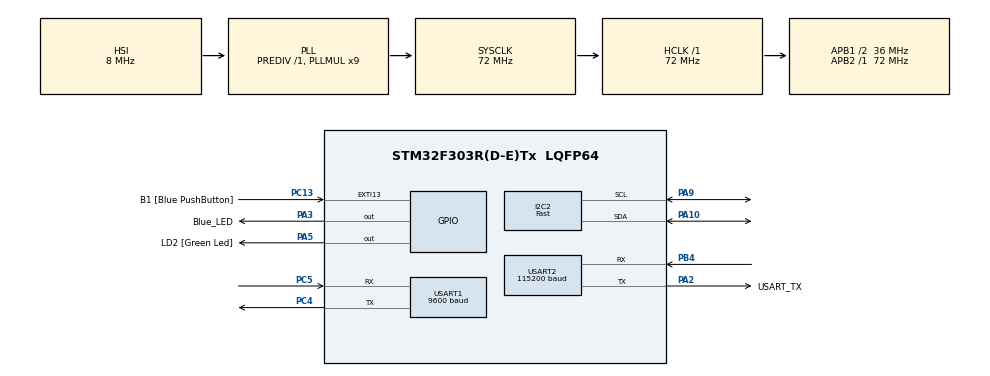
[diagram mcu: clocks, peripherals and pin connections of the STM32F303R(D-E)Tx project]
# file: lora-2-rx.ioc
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I2C2.I2C_Speed_Mode=I2C_Fast
I2C2.Timing=0x0010020A
Mcu.Family=STM32F3
Mcu.Name=STM32F303R(D-E)Tx
Mcu.Package=LQFP64
NVIC.PriorityGroup=NVIC_PRIORITYGROUP_4
NVIC.USART2_IRQn=true\:0\:0\:false\:false\:true\:true\:true\:true
PA10.Mode=I2C
PA10.Signal=I2C2_SDA
PA13.GPIO_Label=TMS
PA13.Mode=Trace_Asynchronous_SW
PA13.Signal=SYS_JTMS-SWDIO
PA14.GPIO_Label=TCK
PA14.Mode=Trace_Asynchronous_SW
PA14.Signal=SYS_JTCK-SWCLK
PA2.GPIO_Label=USART_TX
PA2.GPIO_Mode=GPIO_MODE_AF_PP
PA2.GPIO_PuPd=GPIO_NOPULL
PA2.GPIO_Speed=GPIO_SPEED_FREQ_LOW
PA2.Mode=Asynchronous
PA2.Signal=USART2_TX
PA3.GPIO_Label=Blue_LED
PA3.Signal=GPIO_Output
PA5.GPIO_Label=LD2 [Green Led]
PA5.GPIO_Mode=GPIO_MODE_OUTPUT_PP
PA5.GPIO_PuPd=GPIO_NOPULL
PA5.GPIO_Speed=GPIO_SPEED_FREQ_LOW
PA5.Signal=GPIO_Output
PA9.Mode=I2C
PA9.Signal=I2C2_SCL
PB3.GPIO_Label=SWO
PB3.Mode=Trace_Asynchronous_SW
PB3.Signal=SYS_JTDO-TRACESWO
PB4.Mode=Asynchronous
PB4.Signal=USART2_RX
PC13.GPIO_Label=B1 [Blue PushButton]
PC13.GPIO_ModeDefaultEXTI=GPIO_MODE_IT_FALLING
PC13.Signal=GPXTI13
PC14-OSC32_IN.Mode=LSE-External-Oscillator
PC14-OSC32_IN.Signal=RCC_OSC32_IN
PC15-OSC32_OUT.Mode=LSE-External-Oscillator
PC15-OSC32_OUT.Signal=RCC_OSC32_OUT
PC4.Mode=Asynchronous
PC4.Signal=USART1_TX
PC5.Mode=Asynchronous
PC5.Signal=USART1_RX
PF0-OSC_IN.Mode=HSE-External-Clock-Source
PF0-OSC_IN.Signal=RCC_OSC_IN
PF1-OSC_OUT.Signal=RCC_OSC_OUT
ProjectManager.HeapSize=0x200
ProjectManager.StackSize=0x400
ProjectManager.TargetToolchain=STM32CubeIDE
RCC.AHBFreq_Value=72000000
RCC.APB1CLKDivider=RCC_HCLK_DIV2
RCC.APB1Freq_Value=36000000
RCC.APB1TimFreq_Value=72000000
RCC.APB2Freq_Value=72000000
RCC.APB2TimFreq_Value=72000000
RCC.CortexFreq_Value=72000000
RCC.HCLKFreq_Value=72000000
RCC.HSE_VALUE=8000000
RCC.HSI_VALUE=8000000
RCC.PLLM=8
RCC.PLLMUL=RCC_PLL_MUL9
RCC.PLLN=336
RCC.PLLP=RCC_PLLP_DIV4
RCC.PLLQ=7
RCC.RCC_PLLsource_Clock_Source_FROM_HSE=RCC_HSE_PREDIV_DIV2
RCC.SYSCLKFreq_VALUE=72000000
RCC.SYSCLKSourceVirtual=RCC_SYSCLKSOURCE_PLLCLK
RCC.USBFreq_Value=72000000
USART1.BaudRate=9600
USART1.VirtualMode-Asynchronous=VM_ASYNC
USART2.BaudRate=115200
USART2.VirtualMode-Asynchronous=VM_ASYNC
board=NUCLEO-F303RE

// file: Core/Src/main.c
/* USER CODE BEGIN Header */
/**
  ******************************************************************************
  * @file           : main.c
  * @brief          : LoRa Receiver for STM32F303 (example)
  ******************************************************************************
  * @attention
  * This code listens for:
  *   [AddrHigh] [AddrLow] [Channel] [Payload bytes...] [RSSI]
  * The final byte is the auto-appended RSSI by the LoRa module.
  *
  * We read the first 3 bytes for (Addr,Addr,Channel).
  * Then we read payload until a short timeout.
  * The last byte we read is considered RSSI.
  ******************************************************************************
  */
/* USER CODE END Header */

#include "main.h"
#include <string.h>
#include <stdio.h>
#include <errno.h>
#include "SH1106.h"
#include "fonts.h"

/* USER CODE BEGIN PV */
#define MAX_PAYLOAD_LEN  64   // Adjust as needed
uint8_t rxTemp;               // For receiving one byte at a time
uint8_t rxBuffer[MAX_PAYLOAD_LEN+1];
// We'll store the payload in rxBuffer, then interpret last as RSSI.
/* USER CODE END PV */

I2C_HandleTypeDef hi2c2;
UART_HandleTypeDef huart1; // LoRa module connected here
UART_HandleTypeDef huart2; // Debug prints via printf

void SystemClock_Config(void);
static void MX_GPIO_Init(void);
static void MX_I2C2_Init(void);
static void MX_USART1_UART_Init(void);
static void MX_USART2_UART_Init(void);

/* USER CODE BEGIN 0 */
/**
  * Simple retarget of printf to huart2 for debug logs.
  */
int _write(int file, char *ptr, int len)
{
  if (file == 1 || file == 2) // stdout or stderr
  {
    HAL_StatusTypeDef status;
    status = HAL_UART_Transmit(&huart2, (uint8_t*)ptr, len, HAL_MAX_DELAY);
    return (status == HAL_OK) ? len : EIO;
  }
  errno = EBADF;
  return -1;
}

/**
  * @brief  Receives one "packet" of data from the LoRa module:
  *         [AddrHi][AddrLo][Channel][Payload...][RSSI].
  *         Returns 1 if a packet was successfully read, 0 if no data was received.
  */
int ReceiveLoRaPacket(void)
{
  // 1) Read 3 bytes for address + channel, each with e.g. 1000ms timeout
  if (HAL_UART_Receive(&huart1, &rxTemp, 1, 1000) != HAL_OK) return 0;
  uint8_t addrHi = rxTemp;

  if (HAL_UART_Receive(&huart1, &rxTemp, 1, 100) != HAL_OK) return 0;
  uint8_t addrLo = rxTemp;

  if (HAL_UART_Receive(&huart1, &rxTemp, 1, 100) != HAL_OK) return 0;
  uint8_t channel = rxTemp;

  // 2) Now read payload bytes until we time out. The last byte is the RSSI.
  //    We'll store all in rxBuffer. We'll keep reading until a short gap (e.g. 50ms).
  //    The typical pattern is: the LoRa module will quickly push all payload plus 1 RSSI byte.
  //    We'll assume the final byte we read is the RSSI.

  uint16_t payloadLen = 0;
  while (1)
  {
    // Attempt to read 1 more byte with short timeout
    if (HAL_UART_Receive(&huart1, &rxTemp, 1, 30) == HAL_OK)
    {
      // We read a new byte
      if (payloadLen < MAX_PAYLOAD_LEN)
      {
        rxBuffer[payloadLen++] = rxTemp;
      }
      else
      {
        // Overflow. We'll ignore further bytes but keep reading until the burst ends
        // or we can break.
      }
    }
    else
    {
      // Timed out => no more data in this packet
      break;
    }
  }

  // If we got no payload bytes, that means we only read the 3 header bytes.
  if (payloadLen == 0)
  {
    // Possibly just an empty message?
    // We'll still show something, but there's no RSSI or payload.
    printf("Got address=0x%02X%02X, ch=%d, but no payload.\r\n", addrHi, addrLo, channel);
    return 1;
  }

  // The last byte in our buffer is the auto-appended RSSI:
  uint8_t rssi_raw = rxBuffer[payloadLen - 1];
  payloadLen--; // Everything before that is the actual payload text

  // Print debug
  printf("Received from 0x%02X%02X (ch=%d). Payload len=%d, RSSI(raw)=0x%02X\r\n",
         addrHi, addrLo, channel, payloadLen, rssi_raw);

  // Convert RSSI raw to dBm if needed (example formula, adjust for your module).
  int rssi_dBm = -120 + (rssi_raw * 0.5f);

  // Now let's make a null-terminated payload string to show
  // But watch for bounds:
  if (payloadLen > MAX_PAYLOAD_LEN - 1)
    payloadLen = MAX_PAYLOAD_LEN - 1;
  rxBuffer[payloadLen] = '\0'; // null-terminate

  // Example debug
  printf("Payload: %s\r\n", (char*)rxBuffer);
  printf("RSSI (dBm): %d\r\n", rssi_dBm);

  // Update OLED
  SH1106_Clear();
  SH1106_GotoXY(0, 0);
  SH1106_Puts("LoRa Receiver", &Font_7x10, 1);

  // Show the payload
  SH1106_GotoXY(0, 15);
  SH1106_Puts("Msg:", &Font_7x10, 1);
  SH1106_GotoXY(35, 15);
  SH1106_Puts((char*)rxBuffer, &Font_7x10, 1);

  // Show the RSSI
  char rssiString[20];
  sprintf(rssiString, "RSSI: %d dBm", rssi_dBm);
  SH1106_GotoXY(0, 30);
  SH1106_Puts(rssiString, &Font_7x10, 1);

  SH1106_UpdateScreen();

  // Blink LED to indicate a packet was received
  HAL_GPIO_TogglePin(GPIOA, LD2_Pin);
  HAL_Delay(100);
  HAL_GPIO_TogglePin(GPIOA, LD2_Pin);

  return 1;
}
/* USER CODE END 0 */

int main(void)
{
  HAL_Init();
  SystemClock_Config();
  MX_GPIO_Init();
  MX_I2C2_Init();
  MX_USART1_UART_Init();
  MX_USART2_UART_Init();

  // Init OLED
  SH1106_Init();
  SH1106_Clear();
  SH1106_GotoXY(10, 10);
  SH1106_Puts("LoRa RX Start", &Font_7x10, 1);
  SH1106_UpdateScreen();

  printf("LoRa Receiver started. Waiting for packets...\r\n");

  // Turn on a LED to show we are in RX mode
  HAL_GPIO_WritePin(GPIOA, Blue_LED_Pin, GPIO_PIN_SET);

  while (1)
  {
    // Try to receive a packet
    ReceiveLoRaPacket();
    // Then loop (you might also have timeouts or other logic)
  }
}

/* Peripheral/Clock/Pin init code below -- adapt as needed */
void SystemClock_Config(void)
{
  RCC_OscInitTypeDef RCC_OscInitStruct  = {0};
  RCC_ClkInitTypeDef RCC_ClkInitStruct = {0};
  RCC_PeriphCLKInitTypeDef PeriphClkInit = {0};

  RCC_OscInitStruct.OscillatorType      = RCC_OSCILLATORTYPE_HSI;
  RCC_OscInitStruct.HSIState           = RCC_HSI_ON;
  RCC_OscInitStruct.HSICalibrationValue= RCC_HSICALIBRATION_DEFAULT;
  RCC_OscInitStruct.PLL.PLLState       = RCC_PLL_ON;
  RCC_OscInitStruct.PLL.PLLSource      = RCC_PLLSOURCE_HSI;
  RCC_OscInitStruct.PLL.PLLMUL         = RCC_PLL_MUL9;
  RCC_OscInitStruct.PLL.PREDIV         = RCC_PREDIV_DIV1;
  if (HAL_RCC_OscConfig(&RCC_OscInitStruct) != HAL_OK)
  {
    Error_Handler();
  }

  RCC_ClkInitStruct.ClockType           = RCC_CLOCKTYPE_HCLK|RCC_CLOCKTYPE_SYSCLK
                                        |RCC_CLOCKTYPE_PCLK1|RCC_CLOCKTYPE_PCLK2;
  RCC_ClkInitStruct.SYSCLKSource        = RCC_SYSCLKSOURCE_PLLCLK;
  RCC_ClkInitStruct.AHBCLKDivider       = RCC_SYSCLK_DIV1;
  RCC_ClkInitStruct.APB1CLKDivider      = RCC_HCLK_DIV2;
  RCC_ClkInitStruct.APB2CLKDivider      = RCC_HCLK_DIV1;
  if (HAL_RCC_ClockConfig(&RCC_ClkInitStruct, FLASH_LATENCY_2) != HAL_OK)
  {
    Error_Handler();
  }

  PeriphClkInit.PeriphClockSelection= RCC_PERIPHCLK_USART1
                                     |RCC_PERIPHCLK_USART2
                                     |RCC_PERIPHCLK_I2C2;
  PeriphClkInit.Usart1ClockSelection= RCC_USART1CLKSOURCE_PCLK2;
  PeriphClkInit.Usart2ClockSelection= RCC_USART2CLKSOURCE_PCLK1;
  PeriphClkInit.I2c2ClockSelection  = RCC_I2C2CLKSOURCE_HSI;
  if (HAL_RCCEx_PeriphCLKConfig(&PeriphClkInit) != HAL_OK)
  {
    Error_Handler();
  }
}

/* Example for I2C2 used by SH1106 */
static void MX_I2C2_Init(void)
{
  hi2c2.Instance              = I2C2;
  hi2c2.Init.Timing           = 0x0010020A;
  hi2c2.Init.OwnAddress1      = 0;
  hi2c2.Init.AddressingMode   = I2C_ADDRESSINGMODE_7BIT;
  hi2c2.Init.DualAddressMode  = I2C_DUALADDRESS_DISABLE;
  hi2c2.Init.OwnAddress2      = 0;
  hi2c2.Init.OwnAddress2Masks = I2C_OA2_NOMASK;
  hi2c2.Init.GeneralCallMode  = I2C_GENERALCALL_DISABLE;
  hi2c2.Init.NoStretchMode    = I2C_NOSTRETCH_DISABLE;
  if (HAL_I2C_Init(&hi2c2) != HAL_OK)
  {
    Error_Handler();
  }
  if (HAL_I2CEx_ConfigAnalogFilter(&hi2c2, I2C_ANALOGFILTER_ENABLE) != HAL_OK)
  {
    Error_Handler();
  }
  if (HAL_I2CEx_ConfigDigitalFilter(&hi2c2, 0) != HAL_OK)
  {
    Error_Handler();
  }
}

/* Example: UART1 used for LoRa data */
static void MX_USART1_UART_Init(void)
{
  huart1.Instance                    = USART1;
  huart1.Init.BaudRate              = 9600;
  huart1.Init.WordLength            = UART_WORDLENGTH_8B;
  huart1.Init.StopBits              = UART_STOPBITS_1;
  huart1.Init.Parity                = UART_PARITY_NONE;
  huart1.Init.Mode                  = UART_MODE_TX_RX;
  huart1.Init.HwFlowCtl             = UART_HWCONTROL_NONE;
  huart1.Init.OverSampling          = UART_OVERSAMPLING_16;
  huart1.Init.OneBitSampling        = UART_ONE_BIT_SAMPLE_DISABLE;
  huart1.AdvancedInit.AdvFeatureInit= UART_ADVFEATURE_NO_INIT;
  if (HAL_UART_Init(&huart1) != HAL_OK)
  {
    Error_Handler();
  }
}

/* Example: UART2 for debug (printf) */
static void MX_USART2_UART_Init(void)
{
  huart2.Instance                    = USART2;
  huart2.Init.BaudRate              = 115200;
  huart2.Init.WordLength            = UART_WORDLENGTH_8B;
  huart2.Init.StopBits              = UART_STOPBITS_1;
  huart2.Init.Parity                = UART_PARITY_NONE;
  huart2.Init.Mode                  = UART_MODE_TX_RX;
  huart2.Init.HwFlowCtl             = UART_HWCONTROL_NONE;
  huart2.Init.OverSampling          = UART_OVERSAMPLING_16;
  huart2.Init.OneBitSampling        = UART_ONE_BIT_SAMPLE_DISABLE;
  huart2.AdvancedInit.AdvFeatureInit= UART_ADVFEATURE_NO_INIT;
  if (HAL_UART_Init(&huart2) != HAL_OK)
  {
    Error_Handler();
  }
}

static void MX_GPIO_Init(void)
{
  GPIO_InitTypeDef GPIO_InitStruct = {0};
  /* Clock enable for whichever ports needed. */
  __HAL_RCC_GPIOC_CLK_ENABLE();
  __HAL_RCC_GPIOF_CLK_ENABLE();
  __HAL_RCC_GPIOA_CLK_ENABLE();
  __HAL_RCC_GPIOB_CLK_ENABLE();

  /* Example: LED pins */
  HAL_GPIO_WritePin(GPIOA, Blue_LED_Pin|LD2_Pin, GPIO_PIN_RESET);

  GPIO_InitStruct.Pin   = Blue_LED_Pin|LD2_Pin;
  GPIO_InitStruct.Mode  = GPIO_MODE_OUTPUT_PP;
  GPIO_InitStruct.Pull  = GPIO_NOPULL;
  GPIO_InitStruct.Speed = GPIO_SPEED_FREQ_LOW;
  HAL_GPIO_Init(GPIOA, &GPIO_InitStruct);
}

/* USER CODE BEGIN 4 */
void Error_Handler(void)
{
  __disable_irq();
  while(1)
  {
  }
}
/* USER CODE END 4 */
